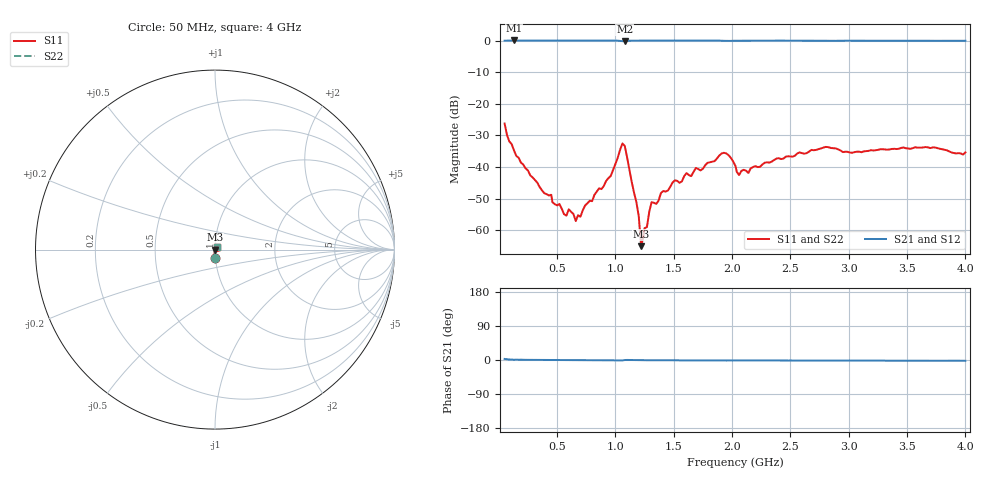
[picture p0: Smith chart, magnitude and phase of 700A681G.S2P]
!  American Technical Ceramics  Date:  3/13/98
!  One Norden Lane
!  Huntington Station,  NY.  11746-2102
!  Tel:  (516) 547-5700  Fax:  (516) 547-5748
!  Part Number  700A681G
!  Description: Porcelain, High Q, Low ESR
!  Application: Bypass, Coupling, Timing, Feedback
!  Tuning, Impedance Match, Blocking
# GHZ S DB R 50
! Freq  |S11|  S11 Ph  |S21|  S21 Ph  |S12|  S12 Ph  |S22|  S22 Ph
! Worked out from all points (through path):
!   201 points, 50 MHz to 4 GHz, reference 50 ohm
!   highest |S21| = 0.03 dB at 130 MHz (marker M1); lowest = -0.2 dB at 1.08 GHz (marker M2)
!   lowest |S11| = -65.0 dB at 1.22 GHz (marker M3), VSWR 1.00, Z = 50 - j0.0528 ohm
!   |S11| at or under -10 dB: start of sweep to end of sweep
!   |S22| runs from -65.0 to -26.2 dB; largest |S21 - S12| = 0
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0.05  -26.23 -91.6  -0.04 2.8  -0.04 2.8  -26.23 -91.6
0.13  -34.69 -96.1  0.03 0.6  0.03 0.6  -34.69 -96.1
0.56  -54.91 -175.7  -0.01 -0.1  -0.01 -0.1  -54.91 -175.7
0.6  -53.36 -172.6  -0.01 -0.3  -0.01 -0.3  -53.36 -172.6
0.66  -57.05 161.2  0.01 -0.4  0.01 -0.4  -57.05 161.2
0.72  -53.66 139.1  0.00 -0.5  0.00 -0.5  -53.66 139.1
0.96  -42.78 89.7  -0.02 -0.7  -0.02 -0.7  -42.78 89.7
1.06  -32.52 24.8  -0.19 -1.1  -0.19 -1.1  -32.52 24.8
1.08  -33.28 -14.1  -0.20 -0.1  -0.20 -0.1  -33.28 -14.1
1.2  -55.53 -76.2  -0.02 -0.3  -0.02 -0.3  -55.53 -76.2
1.22  -64.99 -69.6  -0.02 -0.4  -0.02 -0.4  -64.99 -69.6
1.25  -59.29 55.2  -0.02 -0.6  -0.02 -0.6  -59.29 55.2
1.27  -58.94 62.2  -0.01 -0.6  -0.01 -0.6  -58.94 62.2
1.31  -51.09 89.4  -0.01 -0.5  -0.01 -0.5  -51.09 89.4
1.37  -50.58 90.7  -0.01 -0.6  -0.01 -0.6  -50.58 90.7
1.51  -44.19 80.2  0.01 -0.7  0.01 -0.7  -44.19 80.2
1.91  -35.69 59.5  -0.06 -1.4  -0.06 -1.4  -35.69 59.5
2.03  -39.74 26.9  -0.06 -0.9  -0.06 -0.9  -39.74 26.9
2.06  -42.50 46.2  -0.03 -1.0  -0.03 -1.0  -42.50 46.2
2.7  -34.66 64.7  -0.04 -1.5  -0.04 -1.5  -34.66 64.7
3.35  -34.42 60.5  -0.05 -1.8  -0.05 -1.8  -34.42 60.5
4  -35.35 49.9  -0.07 -2.1  -0.07 -2.1  -35.35 49.9
